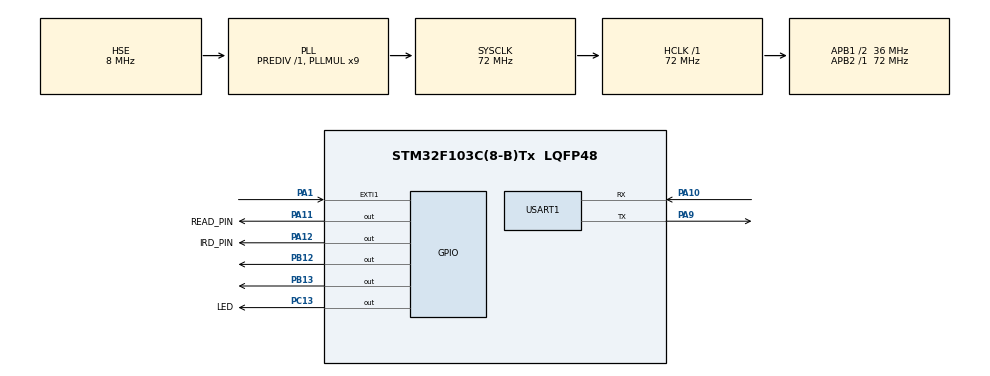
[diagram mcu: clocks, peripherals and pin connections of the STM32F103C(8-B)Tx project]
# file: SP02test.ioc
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Mcu.Family=STM32F1
Mcu.Name=STM32F103C(8-B)Tx
Mcu.Package=LQFP48
NVIC.EXTI1_IRQn=true\:0\:0\:false\:false\:true\:true\:true\:true
NVIC.PriorityGroup=NVIC_PRIORITYGROUP_2
NVIC.TIM2_IRQn=true\:0\:0\:false\:false\:true\:true\:true\:true
NVIC.TIM3_IRQn=true\:0\:0\:false\:false\:true\:true\:true\:true
NVIC.USART1_IRQn=true\:0\:0\:false\:false\:true\:true\:true\:true
PA1.GPIO_ModeDefaultEXTI=GPIO_MODE_IT_RISING_FALLING
PA1.GPIO_PuPd=GPIO_NOPULL
PA1.Signal=GPXTI1
PA10.Mode=Asynchronous
PA10.Signal=USART1_RX
PA11.GPIO_Label=READ_PIN
PA11.GPIO_PuPd=GPIO_NOPULL
PA11.GPIO_Speed=GPIO_SPEED_FREQ_MEDIUM
PA11.PinState=GPIO_PIN_RESET
PA11.Signal=GPIO_Output
PA12.GPIO_Label=IRD_PIN
PA12.GPIO_PuPd=GPIO_NOPULL
PA12.GPIO_Speed=GPIO_SPEED_FREQ_MEDIUM
PA12.PinState=GPIO_PIN_RESET
PA12.Signal=GPIO_Output
PA13.Mode=Serial_Wire
PA13.Signal=SYS_JTMS-SWDIO
PA14.Mode=Serial_Wire
PA14.Signal=SYS_JTCK-SWCLK
PA9.Mode=Asynchronous
PA9.Signal=USART1_TX
PB12.PinState=GPIO_PIN_RESET
PB12.Signal=GPIO_Output
PB13.PinState=GPIO_PIN_RESET
PB13.Signal=GPIO_Output
PC13-TAMPER-RTC.GPIO_Label=LED
PC13-TAMPER-RTC.PinState=GPIO_PIN_RESET
PC13-TAMPER-RTC.Signal=GPIO_Output
PD0-OSC_IN.Mode=HSE-External-Oscillator
PD0-OSC_IN.Signal=RCC_OSC_IN
PD1-OSC_OUT.Mode=HSE-External-Oscillator
PD1-OSC_OUT.Signal=RCC_OSC_OUT
ProjectManager.HeapSize=0x200
ProjectManager.StackSize=0x400
ProjectManager.TargetToolchain=MDK-ARM V5.32
RCC.AHBFreq_Value=72000000
RCC.APB1CLKDivider=RCC_HCLK_DIV2
RCC.APB1Freq_Value=36000000
RCC.APB1TimFreq_Value=72000000
RCC.APB2Freq_Value=72000000
RCC.APB2TimFreq_Value=72000000
RCC.HCLKFreq_Value=72000000
RCC.PLLMUL=RCC_PLL_MUL9
RCC.PLLSourceVirtual=RCC_PLLSOURCE_HSE
RCC.SYSCLKFreq_VALUE=72000000
RCC.SYSCLKSource=RCC_SYSCLKSOURCE_PLLCLK
RCC.USBFreq_Value=72000000
TIM2.AutoReloadPreload=TIM_AUTORELOAD_PRELOAD_ENABLE
TIM2.Period=65534
TIM2.Prescaler=71
TIM3.Period=82
TIM3.Prescaler=7199
USART1.VirtualMode=VM_ASYNC
VP_TIM2_VS_ClockSourceINT.Mode=Internal
VP_TIM3_VS_ClockSourceINT.Mode=Internal
board=custom

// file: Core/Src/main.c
/* USER CODE BEGIN Header */
/**
  ******************************************************************************
  * @file           : main.c
  * @brief          : Main program body
  ******************************************************************************
  * @attention
  *
  * Copyright (c) 2023 STMicroelectronics.
  * All rights reserved.
  *
  * This software is licensed under terms that can be found in the LICENSE file
  * in the root directory of this software component.
  * If no LICENSE file comes with this software, it is provided AS-IS.
  *
  ******************************************************************************
  */
/* USER CODE END Header */
#include "main.h"

/* USER CODE BEGIN Includes */
#include <stdarg.h>
#include <string.h>
#include <stdio.h>

/* USER CODE END Includes */

TIM_HandleTypeDef htim2;
TIM_HandleTypeDef htim3;

UART_HandleTypeDef huart1;

/* USER CODE BEGIN PV */
_KERMAN  KERMANR;
_KERMAN  KERMANI;
unsigned char READ_N = 0,IRD_N = 0;
unsigned char stus= 0;//状态锟斤拷志

 int radtime=0;
 int irdtime=0;//锟芥定锟斤拷锟斤拷时锟斤拷

unsigned char u1tx=0;
//BANK锟斤拷锟斤拷时锟斤拷
int Bradtime=0;
int Birdtime=0;
int Rindex=0;
int radata[WITH_AVG]={0};
int ir_buffer[220]={0};
int ir_buffer_bf[220]={0};
int Rmax=0;//记录窗口内最大值
int Rmin=100;//记录窗口内最小值

	int RadDC=0;
  int IrDC=0;
	int charge_r=0,charge_i=0;
	int rate=0;

/* USER CODE END PV */

void SystemClock_Config(void);
static void MX_GPIO_Init(void);
static void MX_USART1_UART_Init(void);
static void MX_TIM2_Init(void);
static void MX_TIM3_Init(void);

/* USER CODE BEGIN 0 */
void MY_LOG(UART_HandleTypeDef USARTx, char *fmt,...)
{

	unsigned char UsartPrintfBuf[500];
	va_list ap;
	unsigned char *pStr = UsartPrintfBuf;

	va_start(ap, fmt);
	vsnprintf((char *)UsartPrintfBuf, sizeof(UsartPrintfBuf), fmt, ap);							//锟斤拷式锟斤拷
	va_end(ap);

	while(*pStr != NULL)
	{
        HAL_UART_Transmit (&USARTx ,(uint8_t *)pStr++,1,HAL_MAX_DELAY );
	}

}
/* USER CODE END 0 */

int main(void)
{
int charge_rmax=0,charge_rmin=100;
int charge_imax=0,charge_imin=100;
	float R=0,PI=0;

  /* MCU Configuration--------------------------------------------------------*/

  /* Reset of all peripherals, Initializes the Flash interface and the Systick. */
  HAL_Init();

  /* Configure the system clock */
  SystemClock_Config();

  /* Initialize all configured peripherals */
  MX_GPIO_Init();
  MX_USART1_UART_Init();
  MX_TIM2_Init();
  MX_TIM3_Init();
  /* USER CODE BEGIN 2 */
  Kerman_init();
  HAL_TIM_Base_Start_IT(&htim2);
  HAL_TIM_Base_Start_IT(&htim3);
  fof_Init(&fof_1,5, 10, 0);	//低通滤波器，截止频率为10Hz 5ms
  /* USER CODE END 2 */

  /* Infinite loop */
  /* USER CODE BEGIN WHILE */
  while (1)
  {
		if(u1tx)
		{
			u1tx=0;
			RadDC = get_radavg(radtime);
      IrDC  = get_iravg(irdtime);
			charge_r = kaermanR(radtime-Bradtime)*15;
			charge_i = kaermanI(irdtime-Birdtime)*15;

			MY_LOG(USART_DEBUG, "{r:%d,%d}\r\n",charge_r,charge_i);
			//MY_LOG(USART_DEBUG, "{d:%d,%d}\r\n",RadDC+charge_r,IrDC+charge_i);
			Bradtime = radtime;
			Birdtime = irdtime;
			if(radtime>100){
			if(Rindex<SAMPLE){
				if(charge_r>charge_rmax)
					charge_rmax = charge_r;
				else if(charge_r<charge_rmin)
					charge_rmin = charge_r;
				if(charge_i>charge_imax)
					charge_imax = charge_i;
				else if(charge_i<charge_imin)
					charge_imin = charge_i;
				//GET_SPO2();
				ir_buffer[Rindex]=IrDC+charge_i;
				if(Rindex>(WITH_RATE-1))//大于滑动尺度开始计算
					get_rate();
				Rindex++;
			}
			else{
				Rindex=0;
				rate = GET_RATE();
				R = ((float)charge_rmax-charge_rmin)/((float)charge_imax-charge_imin)*((float)IrDC/RadDC);
				PI = ((float)charge_rmax-charge_rmin) / (float)charge_rmax;
				MY_LOG(USART_DEBUG, "{d:%d,%f,%f}\r\n",7229/rate,R,PI);
				charge_rmax=0,charge_rmin=100;
				charge_imax=0,charge_imin=100;
			}
		 }
		}
		//HAL_GPIO_WritePin(GPIOA, GPIO_PIN_11|GPIO_PIN_12, GPIO_PIN_RESET);

    /* USER CODE END WHILE */

  }
}

void SystemClock_Config(void)
{
  RCC_OscInitTypeDef RCC_OscInitStruct = {0};
  RCC_ClkInitTypeDef RCC_ClkInitStruct = {0};

  /** Initializes the RCC Oscillators according to the specified parameters
  * in the RCC_OscInitTypeDef structure.
  */
  RCC_OscInitStruct.OscillatorType = RCC_OSCILLATORTYPE_HSE;
  RCC_OscInitStruct.HSEState = RCC_HSE_ON;
  RCC_OscInitStruct.HSEPredivValue = RCC_HSE_PREDIV_DIV1;
  RCC_OscInitStruct.HSIState = RCC_HSI_ON;
  RCC_OscInitStruct.PLL.PLLState = RCC_PLL_ON;
  RCC_OscInitStruct.PLL.PLLSource = RCC_PLLSOURCE_HSE;
  RCC_OscInitStruct.PLL.PLLMUL = RCC_PLL_MUL9;
  if (HAL_RCC_OscConfig(&RCC_OscInitStruct) != HAL_OK)
  {
    Error_Handler();
  }

  /** Initializes the CPU, AHB and APB buses clocks
  */
  RCC_ClkInitStruct.ClockType = RCC_CLOCKTYPE_HCLK|RCC_CLOCKTYPE_SYSCLK
                              |RCC_CLOCKTYPE_PCLK1|RCC_CLOCKTYPE_PCLK2;
  RCC_ClkInitStruct.SYSCLKSource = RCC_SYSCLKSOURCE_PLLCLK;
  RCC_ClkInitStruct.AHBCLKDivider = RCC_SYSCLK_DIV1;
  RCC_ClkInitStruct.APB1CLKDivider = RCC_HCLK_DIV2;
  RCC_ClkInitStruct.APB2CLKDivider = RCC_HCLK_DIV1;

  if (HAL_RCC_ClockConfig(&RCC_ClkInitStruct, FLASH_LATENCY_2) != HAL_OK)
  {
    Error_Handler();
  }
}

static void MX_TIM2_Init(void)
{

  TIM_ClockConfigTypeDef sClockSourceConfig = {0};
  TIM_MasterConfigTypeDef sMasterConfig = {0};

  htim2.Instance = TIM2;
  htim2.Init.Prescaler = 71;
  htim2.Init.CounterMode = TIM_COUNTERMODE_UP;
  htim2.Init.Period = 65534;
  htim2.Init.ClockDivision = TIM_CLOCKDIVISION_DIV1;
  htim2.Init.AutoReloadPreload = TIM_AUTORELOAD_PRELOAD_ENABLE;
  if (HAL_TIM_Base_Init(&htim2) != HAL_OK)
  {
    Error_Handler();
  }
  sClockSourceConfig.ClockSource = TIM_CLOCKSOURCE_INTERNAL;
  if (HAL_TIM_ConfigClockSource(&htim2, &sClockSourceConfig) != HAL_OK)
  {
    Error_Handler();
  }
  sMasterConfig.MasterOutputTrigger = TIM_TRGO_RESET;
  sMasterConfig.MasterSlaveMode = TIM_MASTERSLAVEMODE_DISABLE;
  if (HAL_TIMEx_MasterConfigSynchronization(&htim2, &sMasterConfig) != HAL_OK)
  {
    Error_Handler();
  }

}

static void MX_TIM3_Init(void)
{

  TIM_ClockConfigTypeDef sClockSourceConfig = {0};
  TIM_MasterConfigTypeDef sMasterConfig = {0};

  htim3.Instance = TIM3;
  htim3.Init.Prescaler = 7199;
  htim3.Init.CounterMode = TIM_COUNTERMODE_UP;
  htim3.Init.Period = 82;
  htim3.Init.ClockDivision = TIM_CLOCKDIVISION_DIV1;
  htim3.Init.AutoReloadPreload = TIM_AUTORELOAD_PRELOAD_DISABLE;
  if (HAL_TIM_Base_Init(&htim3) != HAL_OK)
  {
    Error_Handler();
  }
  sClockSourceConfig.ClockSource = TIM_CLOCKSOURCE_INTERNAL;
  if (HAL_TIM_ConfigClockSource(&htim3, &sClockSourceConfig) != HAL_OK)
  {
    Error_Handler();
  }
  sMasterConfig.MasterOutputTrigger = TIM_TRGO_RESET;
  sMasterConfig.MasterSlaveMode = TIM_MASTERSLAVEMODE_DISABLE;
  if (HAL_TIMEx_MasterConfigSynchronization(&htim3, &sMasterConfig) != HAL_OK)
  {
    Error_Handler();
  }

}

static void MX_USART1_UART_Init(void)
{

  huart1.Instance = USART1;
  huart1.Init.BaudRate = 115200;
  huart1.Init.WordLength = UART_WORDLENGTH_8B;
  huart1.Init.StopBits = UART_STOPBITS_1;
  huart1.Init.Parity = UART_PARITY_NONE;
  huart1.Init.Mode = UART_MODE_TX_RX;
  huart1.Init.HwFlowCtl = UART_HWCONTROL_NONE;
  huart1.Init.OverSampling = UART_OVERSAMPLING_16;
  if (HAL_UART_Init(&huart1) != HAL_OK)
  {
    Error_Handler();
  }

}

static void MX_GPIO_Init(void)
{
  GPIO_InitTypeDef GPIO_InitStruct = {0};

  /* GPIO Ports Clock Enable */
  __HAL_RCC_GPIOC_CLK_ENABLE();
  __HAL_RCC_GPIOD_CLK_ENABLE();
  __HAL_RCC_GPIOA_CLK_ENABLE();
  __HAL_RCC_GPIOB_CLK_ENABLE();

  /*Configure GPIO pin Output Level */
  HAL_GPIO_WritePin(LED_GPIO_Port, LED_Pin, GPIO_PIN_RESET);

  /*Configure GPIO pin Output Level */
  HAL_GPIO_WritePin(GPIOB, GPIO_PIN_12|GPIO_PIN_13, GPIO_PIN_RESET);

  /*Configure GPIO pin Output Level */
  HAL_GPIO_WritePin(GPIOA, READ_PIN_Pin|IRD_PIN_Pin, GPIO_PIN_RESET);

  /*Configure GPIO pin : LED_Pin */
  GPIO_InitStruct.Pin = LED_Pin;
  GPIO_InitStruct.Mode = GPIO_MODE_OUTPUT_PP;
  GPIO_InitStruct.Pull = GPIO_NOPULL;
  GPIO_InitStruct.Speed = GPIO_SPEED_FREQ_LOW;
  HAL_GPIO_Init(LED_GPIO_Port, &GPIO_InitStruct);

  /*Configure GPIO pin : PA1 */
  GPIO_InitStruct.Pin = GPIO_PIN_1;
  GPIO_InitStruct.Mode = GPIO_MODE_IT_RISING_FALLING;
  GPIO_InitStruct.Pull = GPIO_NOPULL;
  HAL_GPIO_Init(GPIOA, &GPIO_InitStruct);

  /*Configure GPIO pins : PB12 PB13 */
  GPIO_InitStruct.Pin = GPIO_PIN_12|GPIO_PIN_13;
  GPIO_InitStruct.Mode = GPIO_MODE_OUTPUT_PP;
  GPIO_InitStruct.Pull = GPIO_NOPULL;
  GPIO_InitStruct.Speed = GPIO_SPEED_FREQ_LOW;
  HAL_GPIO_Init(GPIOB, &GPIO_InitStruct);

  /*Configure GPIO pins : READ_PIN_Pin IRD_PIN_Pin */
  GPIO_InitStruct.Pin = READ_PIN_Pin|IRD_PIN_Pin;
  GPIO_InitStruct.Mode = GPIO_MODE_OUTPUT_PP;
  GPIO_InitStruct.Pull = GPIO_NOPULL;
  GPIO_InitStruct.Speed = GPIO_SPEED_FREQ_MEDIUM;
  HAL_GPIO_Init(GPIOA, &GPIO_InitStruct);

  /* EXTI interrupt init*/
  HAL_NVIC_SetPriority(EXTI1_IRQn, 0, 0);
  HAL_NVIC_EnableIRQ(EXTI1_IRQn);

}
/* USER CODE BEGIN 4 */

void GET_SPO2(void)
{
	float R=0;
	//R = ((float)charge_r/(float)charge_i)*((float)IrDC/(float)RadDC);
	//MY_LOG(USART_DEBUG, "{r:%d,%d,%d,%d}\r\n",charge_r,charge_i,IrDC,RadDC);
	//MY_LOG(USART_DEBUG, "{r:%f}\r\n",(float)charge_r/(float)charge_i);
}

int GET_RATE(void)
{
	int index_max[10]={0},j=0,rrate=0;
	int i=0,Rmedia=((Rmax+Rmin)*12)/20;
	Rmax=0;
	Rmin=100;
	for(i=1;i<(SAMPLE-(WITH_RATE-1)-1);i++)
	{
		if(ir_buffer_bf[i]>Rmedia){
			if(ir_buffer_bf[i]>=ir_buffer_bf[i+1] && ir_buffer_bf[i]>=ir_buffer_bf[i-1]){
				index_max[j]=i;
				i+=20;
				j++;
			}
			if(j>10)
				break;
		}
	}
	if(j>1){
		for(i=1;i<j;i++)
			rrate+=(index_max[i]-index_max[i-1]);
		return rrate/(j-1);
	}
	return 0;
}

int Count_Rate(void)
{
	int i=0,index_max[3]={0},temp;
	for(i=0;i<(SAMPLE-(WITH_RATE-1));i++)
	{
		if(ir_buffer_bf[i]>index_max[0])
			index_max[0]=i;
	}
	for(i=0;i<(SAMPLE-(WITH_RATE-1));i++)
	{
		if(i<(index_max[0]-15) || i>(index_max[0]+15))
		{
			if(ir_buffer_bf[i]>index_max[1])
				index_max[1]=i;
		}
	}
	if(index_max[0]>index_max[1])
	{
		temp = index_max[0];
		index_max[0] = index_max[1] = temp;;
		index_max[1] = temp;
	}
	for(i=0;i<(SAMPLE-(WITH_RATE-1));i++)
	{
		if((i<(index_max[0]-15)) || (i>(index_max[0]+15)&&i<(index_max[1]-15)) || (i>(index_max[1]+15)))
		{
			if(ir_buffer_bf[i]>index_max[2])
				index_max[2]=i;
		}
	}
//	MY_LOG(USART_DEBUG, "{r:%d,%d,%d}\r\n",index_max[0],index_max[1],index_max[2]);
	if(index_max[2]<index_max[0])
		return 7288/(index_max[1]-index_max[0]);
	else if(index_max[2]>index_max[0] && index_max[2]<index_max[1])
		return 7288/(index_max[1]-index_max[2]);
	else if(index_max[2]>index_max[1])
		return 7288/(index_max[2]-index_max[1]);
//	if(index_max[2]<index_max[0])
//	{
//		temp = index_max[0];
//		index_max[0] = index_max[1] = temp;;
//		index_max[1] = temp;
//	}
//	else if()
	return 0;
}

void get_rate(void)
{
	int i=Rindex,j=0,sum=0;
		for(j=(i-(WITH_RATE-1));j<=i;j++){
			sum = sum+ir_buffer[j];
		}
		ir_buffer_bf[i-(WITH_RATE-1)] = (sum/WITH_RATE);
		if((sum/WITH_RATE)>Rmax)
			Rmax = sum/WITH_RATE;
		else if((sum/WITH_RATE)<Rmin)
			Rmin = sum/WITH_RATE;
	//MY_LOG(USART_DEBUG, "{r:%d}\r\n",ir_buffer_bf[i-(WITH_RATE-1)]);

}

void Kerman_init(void)
{
	//速度预测 小预测
	KERMANR.x_last=0;
	KERMANR.p_last=0;
	KERMANR.Q=0.0001;
	KERMANR.R=0.01;
	//速度预测 大预测
	KERMANI.Q = 0.0001;
	KERMANI.R = 0.001;
	KERMANI.x_last=0;
	KERMANI.p_last=0;
}

//卡尔曼滤波函数
float kaermanR(float z_measure)
{
	KERMANR.x_mid=KERMANR.x_last;
	KERMANR.x_mid=KERMANR.x_last;
	KERMANR.p_mid=KERMANR.p_last+KERMANR.Q;
	KERMANR.kg=KERMANR.p_mid/(KERMANR.p_mid+KERMANR.R);
	KERMANR.x_now=KERMANR.x_mid+KERMANR.kg*(z_measure-KERMANR.x_mid);
	KERMANR.p_now=(1-KERMANR.kg)*KERMANR.p_mid;
	KERMANR.p_last = KERMANR.p_now;
	KERMANR.x_last = KERMANR.x_now;
	return KERMANR.x_now;
}
//卡尔曼滤波函数
float kaermanI(float z_measure)
{
	KERMANI.x_mid=KERMANI.x_last;
	KERMANI.x_mid=KERMANI.x_last;
	KERMANI.p_mid=KERMANI.p_last+KERMANI.Q;
	KERMANI.kg=KERMANI.p_mid/(KERMANI.p_mid+KERMANI.R);
	KERMANI.x_now=KERMANI.x_mid+KERMANI.kg*(z_measure-KERMANI.x_mid);
	KERMANI.p_now=(1-KERMANI.kg)*KERMANI.p_mid;
	KERMANI.p_last = KERMANI.p_now;
	KERMANI.x_last = KERMANI.x_now;
	return KERMANI.x_now;
}

void HAL_GPIO_EXTI_Callback(uint16_t GPIO_Pin)
{
	if(GPIO_Pin==GPIO_PIN_1)
  {
		if(!stus)
		{
			//锟斤拷始锟斤拷时
			if(!READ_N)
				TIM2->CNT=0;

			READ_N++;
			if(READ_N>READ)
			{
				radtime = TIM2->CNT;//锟斤拷1000锟斤拷us
				TIM2->CNT=0;
//				MY_LOG(USART_DEBUG, "radtime:%d\r\n",radtime);
				READ_N=0;
				stus=1;
				Set_Led(stus);
			}
		}
		else
		{
			//锟斤拷始锟斤拷时
			if(!IRD_N)
				TIM2->CNT=0;
			IRD_N++;
			if(IRD_N>IRD)
			{
				irdtime = TIM2->CNT;//锟斤拷1000锟斤拷us
//				MY_LOG(USART_DEBUG, "irdtime:%d\r\n",irdtime);
				IRD_N=0;
				stus=2;
				Set_Led(stus);
			}
		}

		__HAL_GPIO_EXTI_CLEAR_IT(GPIO_PIN_1);
	}

}

void HAL_TIM_PeriodElapsedCallback(TIM_HandleTypeDef *htim)
{
//    static unsigned char ledState = 0;
    if (htim == (&htim2))
    {
    }
		//锟斤拷时120Hz
		if (htim == (&htim3))
    {
			READ_N=0;
			IRD_N=0;
			HAL_NVIC_EnableIRQ(EXTI1_IRQn);
			TIM2->CNT=0;
			stus=0;
			Set_Led(stus);

//			if(ledState)
//				HAL_GPIO_WritePin(GPIOA,GPIO_PIN_11,GPIO_PIN_SET);
//			else
//				HAL_GPIO_WritePin(GPIOA,GPIO_PIN_11,GPIO_PIN_RESET);
//			ledState^=1;
		}
}

void Set_Led(unsigned char state)
{
	switch(state)
	{
		case 0:HAL_GPIO_WritePin(GPIOA,READ_PIN_Pin,GPIO_PIN_RESET);
					 HAL_GPIO_WritePin(GPIOA,IRD_PIN_Pin,GPIO_PIN_SET);
			break;
		case 1:HAL_GPIO_WritePin(GPIOA,READ_PIN_Pin,GPIO_PIN_SET);
					 HAL_GPIO_WritePin(GPIOA,IRD_PIN_Pin,GPIO_PIN_RESET);
			break;
		case 2:HAL_GPIO_WritePin(GPIOA,READ_PIN_Pin,GPIO_PIN_SET);
					 HAL_GPIO_WritePin(GPIOA,IRD_PIN_Pin,GPIO_PIN_SET);
					 HAL_NVIC_DisableIRQ(EXTI1_IRQn);//失锟斤拷锟解部锟斤拷锟斤拷
					 u1tx = 1;
			break;

	}
}

/*
*压栈式锟斤拷取十锟斤拷锟斤拷值
*/
int get_radavg(int rat)
{
	unsigned char i=0;
	int sum=rat;
	for(i=0;i<(WITH_AVG-1);i++)
	{
		radata[i]=radata[i+1];
		sum+=radata[i];
	}
	radata[i+1]=rat;
	return sum/WITH_AVG;
}

/*
*压栈式锟斤拷取十锟斤拷锟斤拷值
*/
int get_iravg(int rat)
{
	unsigned char i=0;
	int sum=rat;
	for(i=0;i<(WITH_AVG-1);i++)
	{
		radata[i]=radata[i+1];
		sum+=radata[i];
	}
	radata[i+1]=rat;
	return sum/WITH_AVG;
}
/* USER CODE END 4 */

void Error_Handler(void)
{
  __disable_irq();
  while (1)
  {
  }
}
